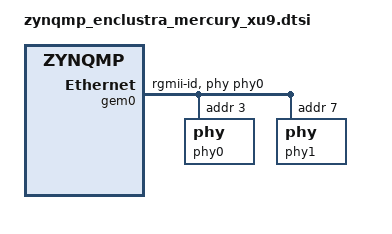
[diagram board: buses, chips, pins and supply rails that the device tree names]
/ {
	aliases {
		ethernet0 = &gem0;
		ethernet1 = &gem3;
		i2c0 = &i2c0;
		serial0 = &uart0;
		spi0 = &qspi;
		timer1 = "/amba/timer@ff120000";
	};
};

&gem0 {
	status = "okay";
	local-mac-address = [00 0a 35 00 02 90];
	phy-mode = "rgmii-id";
	phy-handle = <&phy0>;
	phy0: phy@3 {
		reg = <3>;

		txc-skew-ps = <1800>;
		txen-skew-ps = <420>;

		txd0-skew-ps = <420>;
		txd1-skew-ps = <420>;
		txd2-skew-ps = <420>;
		txd3-skew-ps = <420>;

		rxc-skew-ps = <900>;
		rxdv-skew-ps = <420>;

		rxd0-skew-ps = <420>;
		rxd1-skew-ps = <420>;
		rxd2-skew-ps = <420>;
		rxd3-skew-ps = <420>;		
	};
	phy1: phy@7 {
		reg = <7>;

		txc-skew-ps = <1800>;
		txen-skew-ps = <420>;

		txd0-skew-ps = <420>;
		txd1-skew-ps = <420>;
		txd2-skew-ps = <420>;
		txd3-skew-ps = <420>;

		rxc-skew-ps = <900>;
		rxdv-skew-ps = <420>;

		rxd0-skew-ps = <420>;
		rxd1-skew-ps = <420>;
		rxd2-skew-ps = <420>;
		rxd3-skew-ps = <420>;		
	};
};

&gem3 {
	status = "disabled";
	local-mac-address = [00 0a 35 00 02 91];
	phy-handle = <&phy1>;
	phy-mode = "rgmii-id";
};
